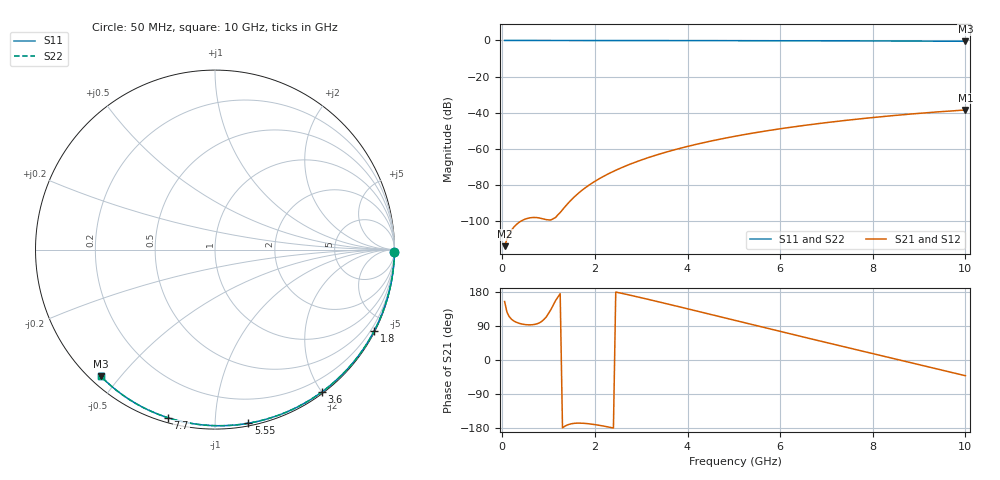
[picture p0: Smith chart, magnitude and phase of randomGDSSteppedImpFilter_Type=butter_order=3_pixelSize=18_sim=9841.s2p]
! freq	dB(S11)	phase(S11)	dB(S12)	phase(S12)
!  dB(S21)	phase(S21)	dB(S22)	phase(S22)
!S-par simulation data
#  GHz  S  DB  R 50
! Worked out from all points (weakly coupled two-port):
!   200 points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, 50 MHz to 10 GHz, reference 50 ohm
!   highest |S21| = -38.57 dB at 10 GHz (marker M1); lowest = -114.1 dB at 50 MHz (marker M2)
!   lowest |S11| = -0.4 dB at 10 GHz (marker M3), VSWR 38.84, Z = 1.54 - j22.2 ohm
!   |S11| at or under -10 dB: nowhere
!   |S22| runs from -0.4 to 0.0 dB; largest |S21 - S12| = 0
!   S11 on the Smith chart (normalised r, x): 50 MHz: open; 1.8 GHz: 0.04, -4.15; 3.6 GHz: 0.02, -2.01; 5.55 GHz: 0.02, -1.21; 7.7 GHz: 0.02, -0.76; 10 GHz: 0.03, -0.44
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0.05  -0.00 -0.8  -114.06 154.3  -114.06 154.3  -0.00 -0.8
0.9  -0.02 -13.7  -99.04 107.1  -99.04 107.1  -0.02 -13.7
1.75  -0.03 -26.3  -82.50 -167.0  -82.50 -167.0  -0.03 -26.3
1.8  -0.03 -27.1  -81.53 -167.4  -81.53 -167.4  -0.03 -27.1
1.85  -0.04 -27.8  -80.62 -168.0  -80.62 -168.0  -0.04 -27.8
1.9  -0.04 -28.6  -79.74 -168.8  -79.74 -168.8  -0.04 -28.6
2.05  -0.04 -30.8  -77.32 -171.4  -77.32 -171.4  -0.04 -30.8
2.25  -0.04 -33.7  -74.47 -175.8  -74.47 -175.8  -0.04 -33.7
2.45  -0.05 -36.6  -71.97 179.3  -71.97 179.3  -0.05 -36.6
2.65  -0.05 -39.5  -69.73 174.0  -69.73 174.0  -0.05 -39.5
3  -0.06 -44.5  -66.30 164.3  -66.30 164.3  -0.06 -44.5
3.4  -0.07 -50.2  -62.95 152.8  -62.95 152.8  -0.07 -50.2
3.6  -0.07 -53.0  -61.46 147.0  -61.46 147.0  -0.07 -53.0
4.3  -0.09 -62.6  -56.93 126.2  -56.93 126.2  -0.09 -62.6
5.05  -0.11 -72.6  -53.00 103.8  -53.00 103.8  -0.11 -72.6
5.55  -0.13 -79.1  -50.77 88.9  -50.77 88.9  -0.13 -79.1
6.1  -0.15 -86.1  -48.59 72.5  -48.59 72.5  -0.15 -86.1
6.7  -0.18 -93.5  -46.50 54.8  -46.50 54.8  -0.18 -93.5
7.7  -0.24 -105.6  -43.53 25.6  -43.53 25.6  -0.24 -105.6
8.35  -0.29 -113.2  -41.87 6.7  -41.87 6.7  -0.29 -113.2
9.15  -0.36 -122.4  -40.10 -16.5  -40.10 -16.5  -0.36 -122.4
10  -0.45 -132.1  -38.57 -41.5  -38.57 -41.5  -0.45 -132.1
